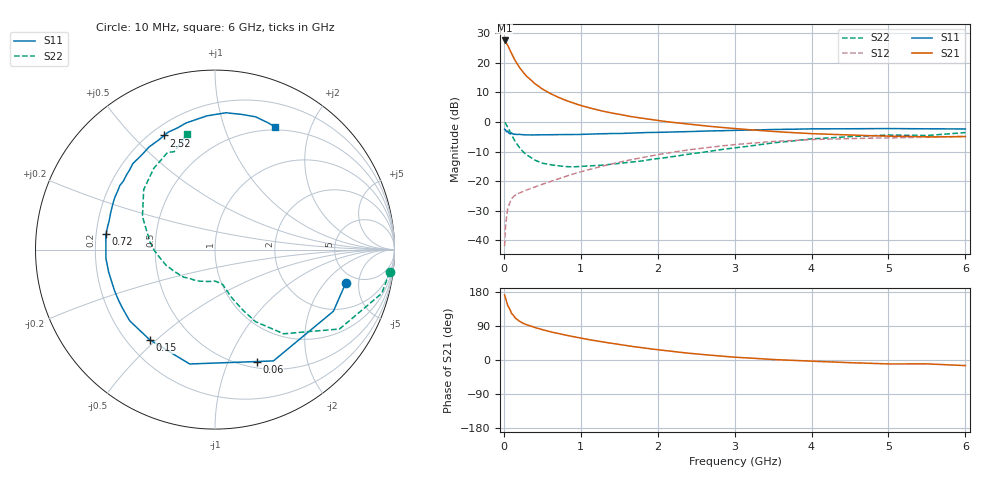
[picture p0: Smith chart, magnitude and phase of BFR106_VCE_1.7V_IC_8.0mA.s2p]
! Infineon Technologies  Discrete & RF Semiconductors
! BFR106
! VCE =  1.7 V,  IC =  8.0 mA
! Common Emitter S-Parameters:  Nov 2015
# GHz  S  MA  R  50
!  f  S11  S21  S12  S22
! GHz  MAG  ANG  MAG  ANG  MAG  ANG  MAG  ANG
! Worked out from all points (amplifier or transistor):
!   210 points, 10 MHz to 6 GHz, reference 50 ohm
!   highest |S21| = 27.5 dB at 10 MHz (marker M1)
!   |S21| within 3 dB of that: start of sweep to 74.37 MHz
!   unconditionally stable (mu >= 1): 516.4 MHz to 2.394 GHz; 4.366 GHz to end of sweep
!   at 185 MHz: K = 0.51, MSG = 21.7 dB, |S12| = -24.2 dB
!   at 1.52 GHz: K = 1.11, MAG = 5.9 dB, |S12| = -13.5 dB
!   at 6 GHz: K = 1.02, MAG = -1.0 dB, |S12| = -4.8 dB
!   S11 on the Smith chart (normalised r, x): 10 MHz: 4.07, -3.44; 60 MHz: 0.57, -1.27; 150 MHz: 0.29, -0.48; 720 MHz: 0.24, +0.07; 2.52 GHz: 0.25, +0.62; 6 GHz: 0.46, +1.50
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0.01  0.7526 -14.1  23.77 171.2  0.008 85.5  0.9813 -7.3
0.02  0.7437 -27.5  23.18 164.1  0.0155 77.3  0.9606 -14.7
0.05  0.7004 -62.3  19.73 143.9  0.0341 62.0  0.8228 -32.5
0.06  0.6654 -69.6  18.49 140.7  0.0373 58.2  0.7741 -35.3
0.1  0.6527 -102.5  14.33 123.1  0.0511 47.9  0.6053 -50.8
0.15  0.6202 -125.9  10.7 110.3  0.0583 41.7  0.4599 -60.7
0.2  0.6192 -140.2  8.456 102.7  0.063 40.5  0.3737 -65.1
0.24  0.6096 -148.3  7.203 98.1  0.0664 40.6  0.3246 -67.9
0.3  0.6048 -157.7  5.837 92.5  0.0714 42.2  0.2765 -71.3
0.4  0.6056 -168.1  4.467 85.7  0.0796 44.8  0.2279 -74.7
0.5  0.6098 -175.4  3.6 79.9  0.0886 47.9  0.2016 -77.2
0.6  0.6077 178.2  3.038 74.6  0.0985 50.3  0.1897 -80.4
0.72  0.6131 172.0  2.576 69.2  0.1111 52.9  0.1813 -85.3
0.9  0.611 164.8  2.087 61.7  0.132 55.1  0.1745 -91.8
1.02  0.618 159.4  1.865 57.1  0.1463 56.1  0.1785 -96.9
1.4  0.6393 146.1  1.416 44.3  0.1953 56.1  0.1941 -114.7
2.02  0.6672 127.6  1.05 26.8  0.2831 51.0  0.2425 -144.9
2.52  0.6963 114.0  0.886 15.7  0.3535 44.0  0.2993 -167.7
3.1  0.7267 101.0  0.756 6.3  0.425 34.3  0.3783 168.9
4.1  0.7647 84.1  0.628 -3.9  0.508 17.4  0.5266 137.1
5.1  0.7716 71.9  0.573 -10.3  0.5409 3.6  0.6 115.4
6  0.7618 63.9  0.567 -14.8  0.5735 -6.2  0.6621 103.5
